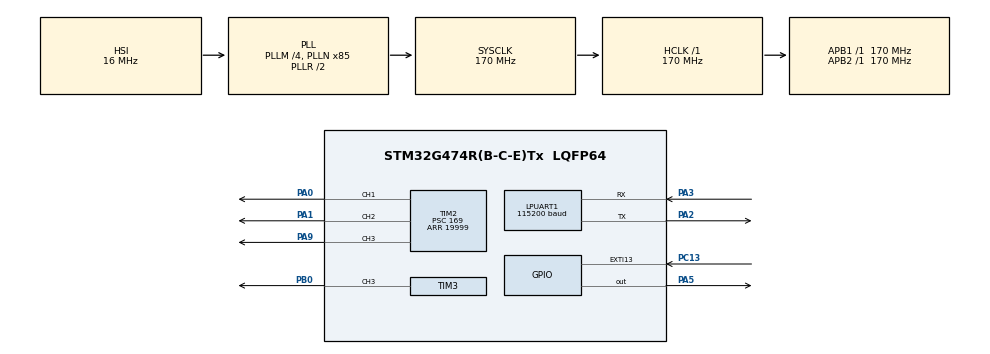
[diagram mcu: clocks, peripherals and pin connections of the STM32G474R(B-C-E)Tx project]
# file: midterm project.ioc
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LPUART1.BaudRate=115200
Mcu.Family=STM32G4
Mcu.Name=STM32G474R(B-C-E)Tx
Mcu.Package=LQFP64
NVIC.EXTI15_10_IRQn=true\:1\:0\:true\:false\:true\:true\:true\:true
NVIC.LPUART1_IRQn=true\:0\:0\:false\:false\:true\:true\:true\:true
NVIC.PriorityGroup=NVIC_PRIORITYGROUP_4
PA0.Signal=S_TIM2_CH1
PA1.Signal=S_TIM2_CH2
PA13.GPIO_Label=T_SWDIO
PA13.Signal=SYS_JTMS-SWDIO
PA2.Mode=Asynchronous
PA2.Signal=LPUART1_TX
PA3.Mode=Asynchronous
PA3.Signal=LPUART1_RX
PA5.Signal=GPIO_Output
PA9.Signal=S_TIM2_CH3
PB0.Signal=S_TIM3_CH3
PB3.GPIO_Label=T_SWO
PB3.Signal=SYS_JTDO-SWO
PC13.GPIO_ModeDefaultEXTI=GPIO_MODE_IT_RISING
PC13.Signal=GPXTI13
PC14-OSC32_IN.GPIO_Label=RCC_OSC32_IN
PC14-OSC32_IN.Signal=RCC_OSC32_IN
PC15-OSC32_OUT.GPIO_Label=RCC_OSC32_OUT
PC15-OSC32_OUT.Signal=RCC_OSC32_OUT
PF0-OSC_IN.GPIO_Label=RCC_OSC_IN
PF0-OSC_IN.Signal=RCC_OSC_IN
PF1-OSC_OUT.GPIO_Label=RCC_OSC_OUT
PF1-OSC_OUT.Signal=RCC_OSC_OUT
ProjectManager.HeapSize=0x200
ProjectManager.StackSize=0x400
ProjectManager.TargetToolchain=STM32CubeIDE
RCC.ADC12Freq_Value=170000000
RCC.ADC345Freq_Value=170000000
RCC.AHBFreq_Value=170000000
RCC.APB1Freq_Value=170000000
RCC.APB1TimFreq_Value=170000000
RCC.APB2Freq_Value=170000000
RCC.APB2TimFreq_Value=170000000
RCC.CortexFreq_Value=170000000
RCC.EXTERNAL_CLOCK_VALUE=12288000
RCC.HCLKFreq_Value=170000000
RCC.HSE_VALUE=24000000
RCC.HSI48_VALUE=48000000
RCC.HSI_VALUE=16000000
RCC.LSE_VALUE=32768
RCC.PLLM=RCC_PLLM_DIV4
RCC.PLLN=85
RCC.RTCClockSelection=RCC_RTCCLKSOURCE_LSE
RCC.SYSCLKFreq_VALUE=170000000
RCC.SYSCLKSource=RCC_SYSCLKSOURCE_PLLCLK
RCC.USBFreq_Value=170000000
RCC.VCOOutputFreq_Value=340000000
SH.S_TIM2_CH1.0=TIM2_CH1,PWM Generation1 CH1
SH.S_TIM2_CH2.0=TIM2_CH2,PWM Generation2 CH2
SH.S_TIM2_CH3.0=TIM2_CH3,PWM Generation3 CH3
SH.S_TIM3_CH3.0=TIM3_CH3,PWM Generation3 CH3
TIM2.Channel-PWM\ Generation1\ CH1=TIM_CHANNEL_1
TIM2.Channel-PWM\ Generation2\ CH2=TIM_CHANNEL_2
TIM2.Channel-PWM\ Generation3\ CH3=TIM_CHANNEL_3
TIM2.PeriodNoDither=19999
TIM2.Prescaler=169
TIM3.Channel-PWM\ Generation3\ CH3=TIM_CHANNEL_3
TIM3.PeriodNoDither=2272
TIM3.Prescaler=169
VP_SYS_VS_DBSignals.Mode=DisableDeadBatterySignals
VP_TIM2_VS_ClockSourceINT.Mode=Internal
VP_TIM3_VS_ClockSourceINT.Mode=Internal
board=NUCLEO-G474RE

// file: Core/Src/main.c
/* USER CODE BEGIN Header */
/**
  ******************************************************************************
  * @file           : main.c
  * @brief          : 主程式核心邏輯 (長按3秒切換Mode 0/1, 終端機30~180 BPM控制)
  ******************************************************************************
  * @attention
  *
  * Copyright (c) 2026 STMicroelectronics.
  * All rights reserved.
  *
  * This software is licensed under terms that can be found in the LICENSE file
  * in the root directory of this software component.
  * If no LICENSE file comes with this software, it is provided AS-IS.
  *
  ******************************************************************************
  */
/* USER CODE END Header */
#include "main.h"

/* USER CODE BEGIN Includes */
#include <stdio.h>  // 導入標準輸入輸出標頭檔 (使用 sprintf)
#include <string.h> // 導入字串處理標頭檔 (使用 strncmp)
#include <stdlib.h> // 導入標準工具庫 (使用 atoi)
#include <ctype.h>  // 導入字元判斷標頭檔 (使用 isdigit)
/* USER CODE END Includes */

UART_HandleTypeDef hlpuart1;

TIM_HandleTypeDef htim2;
TIM_HandleTypeDef htim3;

/* USER CODE BEGIN PV */
// --- 系統模式與狀態全域變數 ---
volatile uint8_t current_mode = 0;   // 0: 節拍器模式, 1: Python 音訊連動模式
volatile uint8_t is_muted = 0;       // 0: 蜂鳴器發聲, 1: 蜂鳴器靜音
volatile uint32_t current_bpm = 120; // 當前節拍速度 (預設 120 BPM)
volatile uint16_t audio_pwm_val = 0; // Mode 1 下由 Python 傳入的 PWM 亮度 (0~999)

// --- PC13 按鈕長按判斷變數 ---
volatile uint32_t btn_press_start = 0; // 記錄按鈕按下的起始時間點 (ms)

// --- LPUART1 接收緩衝區變數 ---
uint8_t rx_byte = 0;          // 儲存中斷每次收到的 1 個 Byte 字元
char rx_buf[64];              // 存放組合後指令字串的緩衝區 (64 Bytes 防止溢位)
volatile uint8_t rx_idx = 0;  // 緩衝區目前的寫入索引位置
/* USER CODE END PV */

void SystemClock_Config(void);
static void MX_GPIO_Init(void);
static void MX_TIM2_Init(void);
static void MX_TIM3_Init(void);
static void MX_LPUART1_UART_Init(void);
/* USER CODE BEGIN PFP */
void parse_uart_command(char *cmd);     // LPUART1 接收指令解析函數宣告
/* USER CODE END PFP */

int main(void)
{

  /* MCU Configuration--------------------------------------------------------*/

  /* Reset of all peripherals, Initializes the Flash interface and the Systick. */
  HAL_Init();

  /* Configure the system clock */
  SystemClock_Config();

  /* Initialize all configured peripherals */
  MX_GPIO_Init();
  MX_TIM2_Init();
  MX_TIM3_Init();
  MX_LPUART1_UART_Init();
  /* USER CODE BEGIN 2 */
  // 1. 啟動 TIM2 的通道 1, 2, 3 輸出 PWM (分別連接紅、黃、綠三色 LED)
  HAL_TIM_PWM_Start(&htim2, TIM_CHANNEL_1); // 紅色 LED
  HAL_TIM_PWM_Start(&htim2, TIM_CHANNEL_2); // 黃色 LED
  HAL_TIM_PWM_Start(&htim2, TIM_CHANNEL_3); // 綠色 LED

  // 2. 啟動 TIM3 的通道 3 輸出 PWM (連接無源蜂鳴器)
  HAL_TIM_PWM_Start(&htim3, TIM_CHANNEL_3);
  TIM3->CCR3 = 0; // 開機預設靜音 ( Duty Cycle = 0 )

  // 3. 啟動 LPUART1 接收中斷 (每次接收 1 個 Byte 寫入 rx_byte)
  HAL_UART_Receive_IT(&hlpuart1, &rx_byte, 1);

  // 4. 發送開機歡迎訊息至電腦 Console
  HAL_Delay(100); // 稍微延時等待串口穩定
  HAL_UART_Transmit(&hlpuart1, (uint8_t*)"System Ready! Mode 0: input bpm\r\n", 37, 1000);
  /* USER CODE END 2 */

  /* Infinite loop */
  /* USER CODE BEGIN WHILE */
  while (1)
  {
    if (current_mode == 0)
    {
      // ===== Mode 0: 節拍器模式 =====
      uint32_t beat_interval = 60000 / current_bpm; // 計算每個節拍的總毫秒數 (60000ms / BPM)

      // 1. 節拍點：LED 瞬間點亮，若非靜音則蜂鳴器發聲
      if (!is_muted)
      {
        TIM3->ARR = 1136;   // 設定頻率約 880Hz (A5 音高)
        TIM3->CCR3 = 568;   // 設定 50% 占空比發聲
      }
      TIM2->CCR1 = 999;     // 紅燈設定為最高亮度
      TIM2->CCR2 = 500;     // 黃燈設定為中等亮度
      TIM2->CCR3 = 200;     // 綠燈設定為低亮度

      HAL_Delay(50);        // 發聲與亮燈維持 50ms

      // 關閉蜂鳴器
      TIM3->CCR3 = 0;       // 停止蜂鳴器發聲

      // 2. 節拍間隔：LED 亮度漸暗演繹
      uint32_t remain_time = beat_interval > 50 ? beat_interval - 50 : 0; // 計算剩下的餘額時間
      uint32_t step_delay = remain_time / 20;                             // 拆分為 20 階步進延時

      // 循環 20 次讓 LED 逐漸變暗
      for (int i = 999; i >= 0 && current_mode == 0; i -= 50)
      {
        TIM2->CCR1 = (i * 999) / 999; // 漸暗紅燈
        TIM2->CCR2 = (i * 500) / 999; // 漸暗黃燈
        TIM2->CCR3 = (i * 200) / 999; // 漸暗綠燈
        HAL_Delay(step_delay);        // 步進延時
      }
    }
    else if (current_mode == 1)
    {
      // ===== Mode 1: Python 音訊燈效模式 =====
      TIM3->CCR3 = 0; // 音訊模式下蜂鳴器保持靜音

      // 即時根據 LPUART 收到的 audio_pwm_val 更新三色 LED 亮度
      TIM2->CCR1 = audio_pwm_val;         // 紅燈直接跟隨音量強度 (0~999)
      TIM2->CCR2 = audio_pwm_val / 2;     // 黃燈縮放半倍亮度
      TIM2->CCR3 = (999 - audio_pwm_val); // 綠燈反態呈現漸變

      HAL_Delay(10); // 10ms 更新頻率，維持視覺順暢
    }
    /* USER CODE END WHILE */

  }
}

void SystemClock_Config(void)
{
  RCC_OscInitTypeDef RCC_OscInitStruct = {0};
  RCC_ClkInitTypeDef RCC_ClkInitStruct = {0};

  /** Configure the main internal regulator output voltage
  */
  HAL_PWREx_ControlVoltageScaling(PWR_REGULATOR_VOLTAGE_SCALE1_BOOST);

  /** Initializes the RCC Oscillators according to the specified parameters
  * in the RCC_OscInitTypeDef structure.
  */
  RCC_OscInitStruct.OscillatorType = RCC_OSCILLATORTYPE_HSI;
  RCC_OscInitStruct.HSIState = RCC_HSI_ON;
  RCC_OscInitStruct.HSICalibrationValue = RCC_HSICALIBRATION_DEFAULT;
  RCC_OscInitStruct.PLL.PLLState = RCC_PLL_ON;
  RCC_OscInitStruct.PLL.PLLSource = RCC_PLLSOURCE_HSI;
  RCC_OscInitStruct.PLL.PLLM = RCC_PLLM_DIV4;
  RCC_OscInitStruct.PLL.PLLN = 85;
  RCC_OscInitStruct.PLL.PLLP = RCC_PLLP_DIV2;
  RCC_OscInitStruct.PLL.PLLQ = RCC_PLLQ_DIV2;
  RCC_OscInitStruct.PLL.PLLR = RCC_PLLR_DIV2;
  if (HAL_RCC_OscConfig(&RCC_OscInitStruct) != HAL_OK)
  {
    Error_Handler();
  }

  /** Initializes the CPU, AHB and APB buses clocks
  */
  RCC_ClkInitStruct.ClockType = RCC_CLOCKTYPE_HCLK|RCC_CLOCKTYPE_SYSCLK
                              |RCC_CLOCKTYPE_PCLK1|RCC_CLOCKTYPE_PCLK2;
  RCC_ClkInitStruct.SYSCLKSource = RCC_SYSCLKSOURCE_PLLCLK;
  RCC_ClkInitStruct.AHBCLKDivider = RCC_SYSCLK_DIV1;
  RCC_ClkInitStruct.APB1CLKDivider = RCC_HCLK_DIV1;
  RCC_ClkInitStruct.APB2CLKDivider = RCC_HCLK_DIV1;

  if (HAL_RCC_ClockConfig(&RCC_ClkInitStruct, FLASH_LATENCY_4) != HAL_OK)
  {
    Error_Handler();
  }
}

static void MX_LPUART1_UART_Init(void)
{

  hlpuart1.Instance = LPUART1;
  hlpuart1.Init.BaudRate = 115200;
  hlpuart1.Init.WordLength = UART_WORDLENGTH_8B;
  hlpuart1.Init.StopBits = UART_STOPBITS_1;
  hlpuart1.Init.Parity = UART_PARITY_NONE;
  hlpuart1.Init.Mode = UART_MODE_TX_RX;
  hlpuart1.Init.HwFlowCtl = UART_HWCONTROL_NONE;
  hlpuart1.Init.OneBitSampling = UART_ONE_BIT_SAMPLE_DISABLE;
  hlpuart1.Init.ClockPrescaler = UART_PRESCALER_DIV1;
  hlpuart1.AdvancedInit.AdvFeatureInit = UART_ADVFEATURE_NO_INIT;
  if (HAL_UART_Init(&hlpuart1) != HAL_OK)
  {
    Error_Handler();
  }
  if (HAL_UARTEx_SetTxFifoThreshold(&hlpuart1, UART_TXFIFO_THRESHOLD_1_8) != HAL_OK)
  {
    Error_Handler();
  }
  if (HAL_UARTEx_SetRxFifoThreshold(&hlpuart1, UART_RXFIFO_THRESHOLD_1_8) != HAL_OK)
  {
    Error_Handler();
  }
  if (HAL_UARTEx_DisableFifoMode(&hlpuart1) != HAL_OK)
  {
    Error_Handler();
  }

}

static void MX_TIM2_Init(void)
{

  TIM_ClockConfigTypeDef sClockSourceConfig = {0};
  TIM_MasterConfigTypeDef sMasterConfig = {0};
  TIM_OC_InitTypeDef sConfigOC = {0};

  htim2.Instance = TIM2;
  htim2.Init.Prescaler = 169;
  htim2.Init.CounterMode = TIM_COUNTERMODE_UP;
  htim2.Init.Period = 19999;
  htim2.Init.ClockDivision = TIM_CLOCKDIVISION_DIV1;
  htim2.Init.AutoReloadPreload = TIM_AUTORELOAD_PRELOAD_DISABLE;
  if (HAL_TIM_Base_Init(&htim2) != HAL_OK)
  {
    Error_Handler();
  }
  sClockSourceConfig.ClockSource = TIM_CLOCKSOURCE_INTERNAL;
  if (HAL_TIM_ConfigClockSource(&htim2, &sClockSourceConfig) != HAL_OK)
  {
    Error_Handler();
  }
  if (HAL_TIM_PWM_Init(&htim2) != HAL_OK)
  {
    Error_Handler();
  }
  sMasterConfig.MasterOutputTrigger = TIM_TRGO_RESET;
  sMasterConfig.MasterSlaveMode = TIM_MASTERSLAVEMODE_DISABLE;
  if (HAL_TIMEx_MasterConfigSynchronization(&htim2, &sMasterConfig) != HAL_OK)
  {
    Error_Handler();
  }
  sConfigOC.OCMode = TIM_OCMODE_PWM1;
  sConfigOC.Pulse = 0;
  sConfigOC.OCPolarity = TIM_OCPOLARITY_HIGH;
  sConfigOC.OCFastMode = TIM_OCFAST_DISABLE;
  if (HAL_TIM_PWM_ConfigChannel(&htim2, &sConfigOC, TIM_CHANNEL_1) != HAL_OK)
  {
    Error_Handler();
  }
  if (HAL_TIM_PWM_ConfigChannel(&htim2, &sConfigOC, TIM_CHANNEL_2) != HAL_OK)
  {
    Error_Handler();
  }
  if (HAL_TIM_PWM_ConfigChannel(&htim2, &sConfigOC, TIM_CHANNEL_3) != HAL_OK)
  {
    Error_Handler();
  }
  HAL_TIM_MspPostInit(&htim2);

}

static void MX_TIM3_Init(void)
{

  TIM_ClockConfigTypeDef sClockSourceConfig = {0};
  TIM_MasterConfigTypeDef sMasterConfig = {0};
  TIM_OC_InitTypeDef sConfigOC = {0};

  htim3.Instance = TIM3;
  htim3.Init.Prescaler = 169;
  htim3.Init.CounterMode = TIM_COUNTERMODE_UP;
  htim3.Init.Period = 2272;
  htim3.Init.ClockDivision = TIM_CLOCKDIVISION_DIV1;
  htim3.Init.AutoReloadPreload = TIM_AUTORELOAD_PRELOAD_DISABLE;
  if (HAL_TIM_Base_Init(&htim3) != HAL_OK)
  {
    Error_Handler();
  }
  sClockSourceConfig.ClockSource = TIM_CLOCKSOURCE_INTERNAL;
  if (HAL_TIM_ConfigClockSource(&htim3, &sClockSourceConfig) != HAL_OK)
  {
    Error_Handler();
  }
  if (HAL_TIM_PWM_Init(&htim3) != HAL_OK)
  {
    Error_Handler();
  }
  sMasterConfig.MasterOutputTrigger = TIM_TRGO_RESET;
  sMasterConfig.MasterSlaveMode = TIM_MASTERSLAVEMODE_DISABLE;
  if (HAL_TIMEx_MasterConfigSynchronization(&htim3, &sMasterConfig) != HAL_OK)
  {
    Error_Handler();
  }
  sConfigOC.OCMode = TIM_OCMODE_PWM1;
  sConfigOC.Pulse = 0;
  sConfigOC.OCPolarity = TIM_OCPOLARITY_HIGH;
  sConfigOC.OCFastMode = TIM_OCFAST_DISABLE;
  if (HAL_TIM_PWM_ConfigChannel(&htim3, &sConfigOC, TIM_CHANNEL_3) != HAL_OK)
  {
    Error_Handler();
  }
  HAL_TIM_MspPostInit(&htim3);

}

static void MX_GPIO_Init(void)
{
  GPIO_InitTypeDef GPIO_InitStruct = {0};

  /* GPIO Ports Clock Enable */
  __HAL_RCC_GPIOC_CLK_ENABLE();
  __HAL_RCC_GPIOF_CLK_ENABLE();
  __HAL_RCC_GPIOA_CLK_ENABLE();
  __HAL_RCC_GPIOB_CLK_ENABLE();

  /*Configure GPIO pin Output Level */
  HAL_GPIO_WritePin(GPIOA, GPIO_PIN_5, GPIO_PIN_RESET);

  /*Configure GPIO pin : PC13 */
  GPIO_InitStruct.Pin = GPIO_PIN_13;
  GPIO_InitStruct.Mode = GPIO_MODE_IT_RISING;
  GPIO_InitStruct.Pull = GPIO_NOPULL;
  HAL_GPIO_Init(GPIOC, &GPIO_InitStruct);

  /*Configure GPIO pin : PA5 */
  GPIO_InitStruct.Pin = GPIO_PIN_5;
  GPIO_InitStruct.Mode = GPIO_MODE_OUTPUT_PP;
  GPIO_InitStruct.Pull = GPIO_NOPULL;
  GPIO_InitStruct.Speed = GPIO_SPEED_FREQ_LOW;
  HAL_GPIO_Init(GPIOA, &GPIO_InitStruct);

  /* EXTI interrupt init*/
  HAL_NVIC_SetPriority(EXTI15_10_IRQn, 1, 0);
  HAL_NVIC_EnableIRQ(EXTI15_10_IRQn);

}

/* USER CODE BEGIN 4 */
// --- A. LPUART1 指令解析器 ---
void parse_uart_command(char *cmd)
{
  // 濾除開頭可能的無效空格、\r 或 \n
  while(*cmd == ' ' || *cmd == '\r' || *cmd == '\n') cmd++;

  // 1. bpm 指令處理 (支援 "bpm 120" 或舊版 "set bpm 120")
  if (strncmp(cmd, "bpm ", 4) == 0 || strncmp(cmd, "set bpm ", 8) == 0)
  {
    int offset = (cmd[0] == 's') ? 8 : 4;
    int new_bpm = atoi(&cmd[offset]);                 // 將字串轉為整數

    // 嚴格限定範圍為 30 ~ 180 BPM
    if (new_bpm >= 30 && new_bpm <= 180)
    {
      current_bpm = (uint32_t)new_bpm;                // 更新當前 BPM
      char msg[40];
      int len = sprintf(msg, "BPM set to: %u\r\n", (unsigned int)current_bpm);
      HAL_UART_Transmit(&hlpuart1, (uint8_t*)msg, len, 100); // 回送確認訊息
    }
    else
    {
      // 提示超出範圍（無視無效輸入）
      HAL_UART_Transmit(&hlpuart1, (uint8_t*)"Err: BPM must be 30-180\r\n", 25, 100);
    }
  }
  // 2. mute 指令處理 (靜音切換)
  else if (strncmp(cmd, "mute", 4) == 0)
  {
    is_muted = !is_muted;                            // 切換靜音狀態 (0 <-> 1)
    if (is_muted)
      HAL_UART_Transmit(&hlpuart1, (uint8_t*)"Buzzer MUTED\r\n", 14, 100);   // 回報已靜音
    else
      HAL_UART_Transmit(&hlpuart1, (uint8_t*)"Buzzer UNMUTED\r\n", 16, 100); // 回報已取消靜音
  }
  // 3. status / st 指令處理 (查詢狀態)
  else if (strncmp(cmd, "status", 6) == 0 || strncmp(cmd, "st", 2) == 0)
  {
    char stat[90];
    int len = sprintf(stat, "Mode: %d | BPM: %u | Mute: %s | SYSCLK: 170MHz\r\n",
                      (int)current_mode, (unsigned int)current_bpm, is_muted ? "ON" : "OFF");
    HAL_UART_Transmit(&hlpuart1, (uint8_t*)stat, len, 100); // 回送系統狀態字串
  }
  // 4. 純數字指令處理
  else if (isdigit((unsigned char)cmd[0]))
  {
    int val = atoi(cmd);                              // 轉換為整數
    if (current_mode == 0)
    {
      // Mode 0：純數字設定 BPM (嚴格限制 30 ~ 180)
      if (val >= 30 && val <= 180)
      {
        current_bpm = (uint32_t)val;                  // 更新當前 BPM
        char msg[40];
        int len = sprintf(msg, "BPM set to: %u\r\n", (unsigned int)current_bpm);
        HAL_UART_Transmit(&hlpuart1, (uint8_t*)msg, len, 100);
      }
      else
      {
        // 提示超出範圍（無視無效輸入）
        HAL_UART_Transmit(&hlpuart1, (uint8_t*)"Err: BPM must be 30-180\r\n", 25, 100);
      }
    }
    else if (current_mode == 1)
    {
      // Mode 1：純數字作為 Python 音訊 PWM 亮度 (0~999)
      if (val < 0) val = 0;                           // 限位下限 0
      if (val > 999) val = 999;                       // 限位上限 999
      audio_pwm_val = (uint16_t)val;                  // 更新 PWM 數值
    }
  }
}

// --- B. UART 接收完成中斷回調函數 (每次收到 1 Byte 觸發) ---
void HAL_UART_RxCpltCallback(UART_HandleTypeDef *huart)
{
  if (huart->Instance == LPUART1)                     // 確認為 LPUART1 中斷
  {
    // 💡 測試燈號：只要進到 RX 中斷，PA5 (LD2 綠燈) 就會翻轉亮滅一次
    HAL_GPIO_TogglePin(GPIOA, GPIO_PIN_5);

    // 判斷是否收到換行符號 (\r 或 \n)，即代表一條完整指令結束
    if (rx_byte == '\r' || rx_byte == '\n')
    {
      if (rx_idx > 0)                                // 若緩衝區內有字元
      {
        rx_buf[rx_idx] = '\0';                       // 補上 C 語言字串結束符號
        parse_uart_command(rx_buf);                  // 呼叫解析器處理指令
        rx_idx = 0;                                  // 解析完畢，重置緩衝區索引
      }
    }
    else
    {
      if (rx_idx < sizeof(rx_buf) - 1)               // 檢查緩衝區是否還有空間
      {
        rx_buf[rx_idx++] = rx_byte;                  // 寫入緩衝區並遞增索引
      }
      else
      {
        rx_idx = 0;                                  // 超出邊界則自動清空重置
      }
    }

    // 處理完畢後重新開啟 1 Byte 的 LPUART1 接收中斷
    HAL_UART_Receive_IT(&hlpuart1, &rx_byte, 1);
  }
}

// --- C. UART 錯誤處理中斷回調函數 (防止 Overrun 鎖死) ---
void HAL_UART_ErrorCallback(UART_HandleTypeDef *huart)
{
  if (huart->Instance == LPUART1)                     // 確認為 LPUART1 錯誤
  {
    __HAL_UART_CLEAR_OREFLAG(huart);                 // 手動清除 Overrun (溢位) 錯誤旗標
    __HAL_UART_CLEAR_NEFLAG(huart);                  // 手動清除 Noise (雜訊) 錯誤旗標
    __HAL_UART_CLEAR_FEFLAG(huart);                  // 手動清除 Framing (訊框) 錯誤旗標
    rx_idx = 0;                                      // 清空緩衝區指標
    HAL_UART_Receive_IT(&hlpuart1, &rx_byte, 1);     // 強制重啟接收中斷
  }
}

// --- D. PC13 藍色按鈕 (B1) 長按 3 秒切換 Mode (高準位觸發 + 消抖檢測) ---
void HAL_GPIO_EXTI_Callback(uint16_t GPIO_Pin)
{
  if (GPIO_Pin == GPIO_PIN_13) // PC13 按鈕按下 (Rising Edge)
  {
    // 消抖延時：等待 50ms 避開接點彈跳
    HAL_Delay(50);

    // 確認按鈕此時處於按下狀態 (高準位 GPIO_PIN_SET)
    if (HAL_GPIO_ReadPin(GPIOC, GPIO_PIN_13) == GPIO_PIN_SET)
    {
      uint32_t press_time = 0;

      // 當按鈕持續被按住 (High) 且時間小於 3 秒 (3000ms) 時進行迴圈等待
      while (HAL_GPIO_ReadPin(GPIOC, GPIO_PIN_13) == GPIO_PIN_SET && press_time < 1500)
      {
        HAL_Delay(10);
        press_time += 10;
      }

      // 若按住時間達到或超過 3000ms (3秒)
      if (press_time >= 1500)
      {
        current_mode = !current_mode; // 切換 Mode 0 <-> Mode 1

        char mode_msg[60];
        int len = sprintf(mode_msg, "\r\n>>> Switched to Mode %d (%s) <<<\r\n",
                          current_mode, current_mode == 1 ? "Python Audio LED" : "Rhythm Coach");
        HAL_UART_Transmit(&hlpuart1, (uint8_t*)mode_msg, len, 100);

        // 重置 Mode 1 相關 PWM 與狀態
        TIM3->CCR3 = 0;
        audio_pwm_val = 0;
      }
    }
  }
}
/* USER CODE END 4 */

void Error_Handler(void)
{
  /* USER CODE BEGIN Error_Handler_Debug */
  __disable_irq(); // 關閉所有中斷
  while (1)
  {
    // 卡死在死迴圈，等待除錯
  }
  /* USER CODE END Error_Handler_Debug */
}
